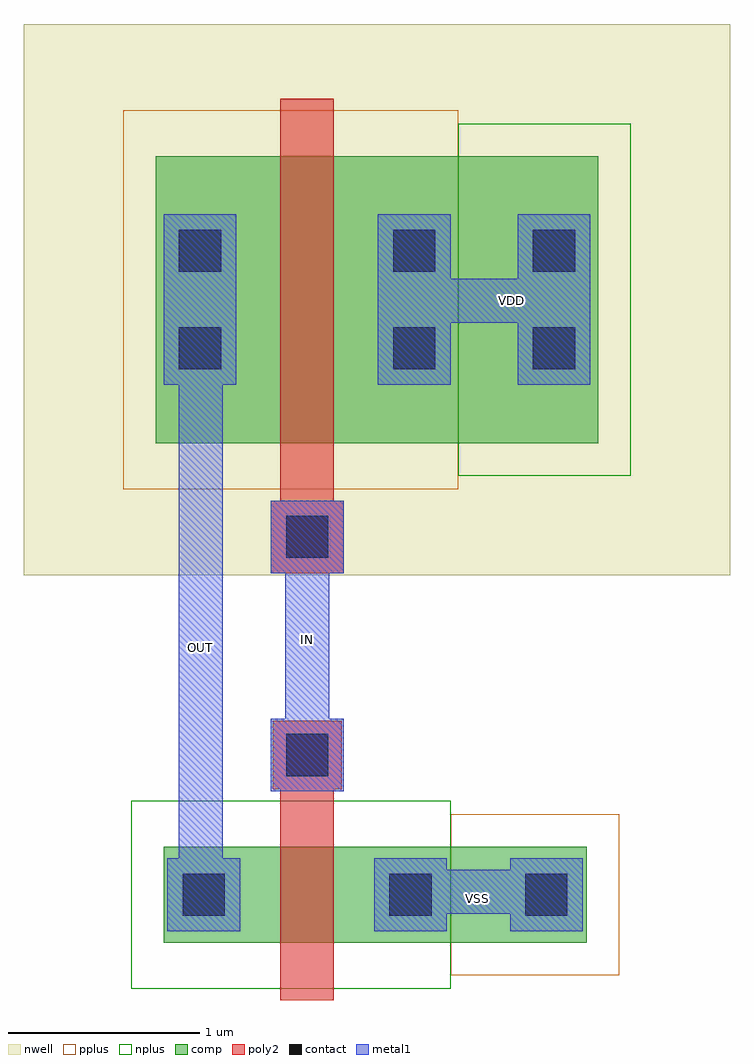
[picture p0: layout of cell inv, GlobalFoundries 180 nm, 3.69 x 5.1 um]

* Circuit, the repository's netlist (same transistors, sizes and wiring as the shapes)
** sch_path: /foss/designs/creactive-chipathon-2025/designs/libs/core_analog/inv_test/inv.sch
.subckt inv IN OUT VDD VSS
*.PININFO IN:I OUT:O VDD:B VSS:B
M1 OUT IN VDD VDD pfet_03v3 L=0.28u W=1.5u nf=1 m=1
M2 OUT IN VSS VSS nfet_03v3 L=0.28u W=0.5u nf=1 m=1
.ends

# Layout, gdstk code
import gdstk
lib = gdstk.Library(unit=1e-6, precision=5e-09)
def R(c, l, rs):  # rectangles x0, y0, x1, y1
    for r in rs: c.add(gdstk.rectangle(r[:2], r[2:], *l))
nwell = (21, 0)
comp = (22, 0)
poly2 = (30, 0)
pplus = (31, 0)
nplus = (32, 0)
contact = (33, 0)
metal1 = (34, 0)

nfet = lib.new_cell('nfet')
R(nfet, comp, [(-0.42,0,0,0.5), (0,0,0.66,0.5), (0.66,0,1.08,0.5), (1.08,0,1.79,0.5)])
R(nfet, poly2, [(0.19,-0.3,0.47,0.8), (0.15,0.8,0.51,1.16)])
R(nfet, pplus, [(1.08,-0.17,1.96,0.67)])
R(nfet, nplus, [(-0.59,-0.24,1.08,0.74)])
R(nfet, contact, [(-0.32,0.14,-0.1,0.36), (0.76,0.14,0.98,0.36), (1.47,0.14,1.69,0.36), (0.22,0.87,0.44,1.09)])
R(nfet, metal1, [(-0.4,0.06,-0.02,0.44), (0.68,0.06,1.06,0.44), (1.39,0.06,1.77,0.44), (0.14,0.79,0.52,1.17)])

pfet = lib.new_cell('pfet')
R(pfet, nwell, [(-1.15,-0.69,2.54,2.19)])
R(pfet, comp, [(-0.46,0,0,1.5), (0,0,0.66,1.5), (0.66,0,1.12,1.5), (1.12,0,1.85,1.5)])
R(pfet, poly2, [(0.19,-0.3,0.47,1.8), (0.14,1.8,0.52,2.18)])
R(pfet, pplus, [(-0.63,-0.24,1.12,1.74)])
R(pfet, nplus, [(1.12,-0.17,2.02,1.67)])
R(pfet, contact, [(-0.34,0.385,-0.12,0.605), (0.78,0.385,1,0.605), (1.51,0.385,1.73,0.605), (-0.34,0.895,-0.12,1.115), (0.78,0.895,1,1.115), (1.51,0.895,1.73,1.115), (0.22,1.88,0.44,2.1)])
R(pfet, metal1, [(-0.42,0.305,-0.04,1.195), (0.7,0.305,1.08,1.195), (1.43,0.305,1.81,1.195), (0.14,1.8,0.52,2.18)])

inv = lib.new_cell('inv')
inv.add(gdstk.FlexPath([(-0.645,0.85),(-0.645,-0.07)], 0.23, ends="flush", simple_path=True, layer=34, datatype=0))  # metal1
inv.add(gdstk.FlexPath([(-1.2,-0.72),(-1.2,1.755)], 0.23, ends="flush", simple_path=True, layer=34, datatype=0))  # metal1
inv.add(gdstk.FlexPath([(0.105,2.195),(0.455,2.195)], 0.23, ends="flush", simple_path=True, layer=34, datatype=0))  # metal1
inv.add(gdstk.FlexPath([(0.085,-0.895),(0.415,-0.895)], 0.23, ends="flush", simple_path=True, layer=34, datatype=0))  # metal1
inv.add(gdstk.Reference(nfet, (-0.975,-1.16)))
inv.add(gdstk.Reference(pfet, (-0.975,2.95), x_reflection=True))
inv.add(gdstk.Label('VSS', (0.245,-0.93), layer=34, texttype=10))
inv.add(gdstk.Label('VDD', (0.425,2.195), layer=34, texttype=10))
inv.add(gdstk.Label('IN', (-0.645,0.425), layer=34, texttype=10))
inv.add(gdstk.Label('OUT', (-1.2,0.38), layer=34, texttype=10))

lib.write_gds('inv.gds')
